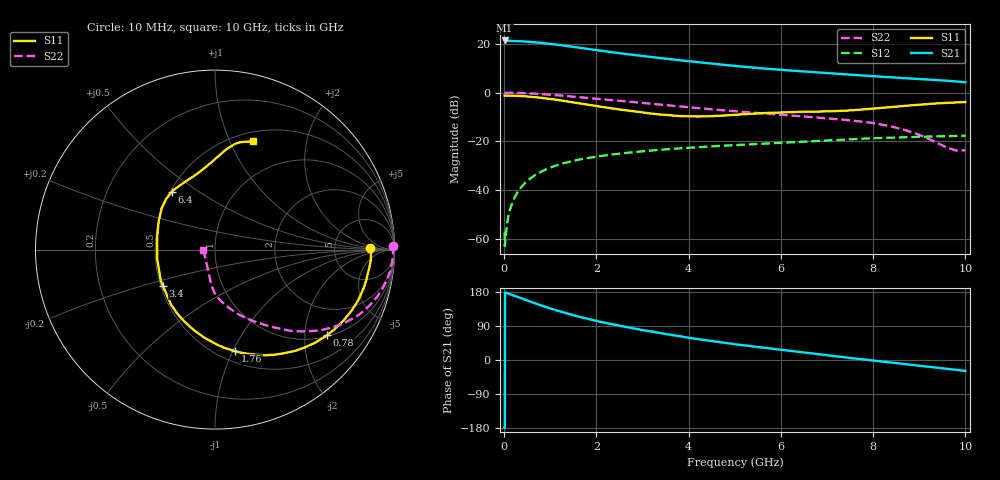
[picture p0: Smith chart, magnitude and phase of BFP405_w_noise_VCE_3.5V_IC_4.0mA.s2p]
! Infineon Technologies  Discrete & RF Semiconductors
! BFP405
! VCE =  3.5 V,  IC =  4.0 mA
! Common Emitter S-Parameters:  Jan 2016
# GHz  S  MA  R  50
!  f  S11  S21  S12  S22
! GHz  MAG  ANG  MAG  ANG  MAG  ANG  MAG  ANG
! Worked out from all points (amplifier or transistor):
!   233 points, 10 MHz to 10 GHz, reference 50 ohm
!   highest |S21| = 21.4 dB at 10 MHz (marker M1)
!   |S21| within 3 dB of that: start of sweep to 1.641 GHz
!   unconditionally stable (mu >= 1): 13.53 MHz to 15.93 MHz; 3.685 GHz to end of sweep
!   at 200 MHz: K = 0.10, MSG = 32.7 dB, |S12| = -44.2 dB
!   at 1.74 GHz: K = 0.48, MSG = 22.6 dB, |S12| = -27.1 dB
!   at 10 GHz: K = 1.49, MAG = 6.9 dB, |S12| = -17.7 dB
!   lowest NFmin = 1.10 dB at 900 MHz
!   S11 on the Smith chart (normalised r, x): 10 MHz: 14, +1; 780 MHz: 1.04, -2.59; 1.76 GHz: 0.60, -1.02; 3.4 GHz: 0.51, -0.24; 6.4 GHz: 0.51, +0.39; 10 GHz: 0.60, +1.22
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0.01  0.8659 0.5  11.77 -178.0  0.0014 -32.2  0.9936 1.2
0.015  0.8675 -0.2  11.7 -179.9  0.0007 1.9  0.9909 0.6
0.02  0.8693 -0.9  11.64 178.2  0.0008 80.4  0.9884 0.0
0.1  0.869 -4.7  11.56 174.7  0.0032 83.8  0.9923 -2.2
0.28  0.8568 -13.7  11.43 166.9  0.0087 81.6  0.9831 -6.4
0.56  0.8233 -27.0  10.99 154.3  0.017 76.1  0.9608 -12.5
0.78  0.7856 -37.3  10.55 145.0  0.0232 71.6  0.9347 -17.1
1  0.7414 -47.1  10.01 136.0  0.0287 67.2  0.9038 -21.4
1.2  0.6973 -55.8  9.491 128.5  0.0334 63.4  0.873 -25.1
1.4  0.6532 -64.4  8.959 121.4  0.0376 60.0  0.8406 -28.3
1.68  0.5926 -75.7  8.233 112.4  0.0429 55.8  0.7961 -32.4
1.76  0.5759 -78.9  8.025 110.0  0.0444 54.6  0.7838 -33.5
2.1  0.5114 -92.5  7.239 100.5  0.0498 50.4  0.7332 -37.8
2.48  0.4526 -107.6  6.486 90.9  0.0553 46.3  0.6802 -42.0
2.96  0.3956 -127.0  5.701 79.9  0.0617 41.8  0.6185 -47.0
3.4  0.3535 -145.1  5.102 70.8  0.067 38.1  0.5647 -51.1
4  0.3264 -171.2  4.416 58.8  0.0736 33.5  0.4988 -56.9
5.1  0.3549 151.0  3.458 40.2  0.0844 25.9  0.4066 -67.1
6.4  0.4013 126.9  2.76 21.3  0.0975 18.4  0.3286 -77.3
6.8  0.407 119.0  2.593 15.5  0.102 15.8  0.3064 -80.5
8.4  0.5064 89.8  2.053 -6.8  0.1187 3.9  0.2004 -95.3
10  0.6389 70.9  1.631 -28.8  0.1298 -7.5  0.0653 -179.9
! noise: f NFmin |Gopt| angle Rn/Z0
0.9  1.1  0.42  13  0.34
1.8  1.39  0.33  21  0.32
2.4  1.55  0.28  31  0.32
3  1.58  0.26  47  0.29
4  1.76  0.14  70  0.25
5  2.11  0.09  124  0.22
